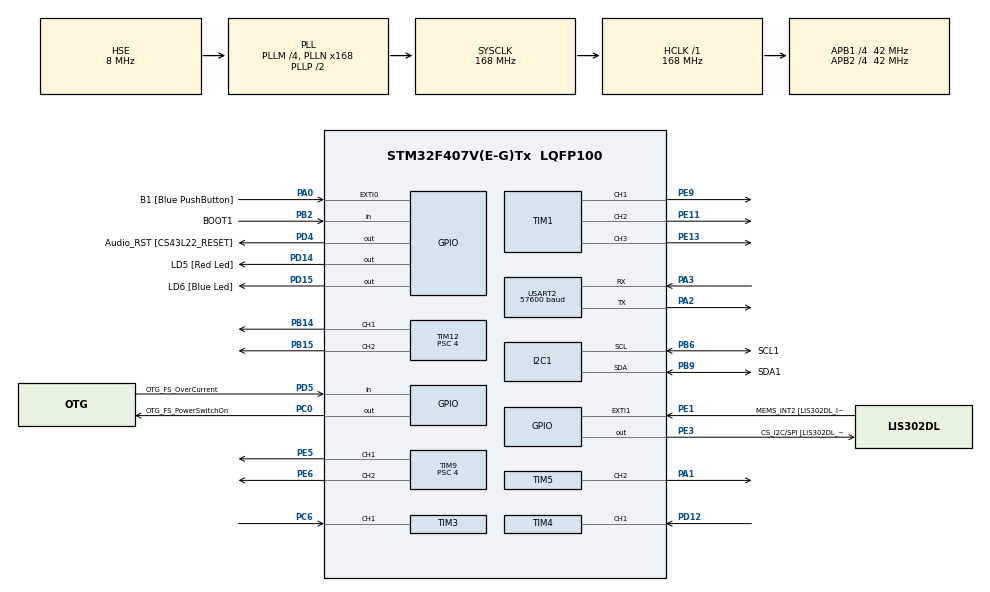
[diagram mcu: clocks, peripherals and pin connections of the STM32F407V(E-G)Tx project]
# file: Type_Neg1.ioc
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FREERTOS.Tasks01=defaultTask,0,128,StartDefaultTask
Mcu.Family=STM32F4
Mcu.Name=STM32F407V(E-G)Tx
Mcu.Package=LQFP100
NVIC.EXTI0_IRQn=true\:5\:0\:false
NVIC.I2C1_EV_IRQn=true\:5\:0\:false
NVIC.PriorityGroup=NVIC_PRIORITYGROUP_4
PA0-WKUP.GPIO_Label=B1 [Blue PushButton]
PA0-WKUP.GPIO_ModeDefaultEXTI=GPIO_MODE_IT_RISING
PA0-WKUP.GPIO_PuPd=GPIO_PULLDOWN
PA0-WKUP.Signal=GPXTI0
PA1.Signal=S_TIM5_CH2
PA10.GPIO_Label=OTG_FS_ID
PA10.GPIO_Mode=GPIO_MODE_AF_PP
PA10.GPIO_PuPd=GPIO_NOPULL
PA10.GPIO_Speed=GPIO_SPEED_LOW
PA10.Signal=USB_OTG_FS_ID
PA11.GPIO_Label=OTG_FS_DM
PA11.GPIO_Mode=GPIO_MODE_AF_PP
PA11.GPIO_PuPd=GPIO_NOPULL
PA11.GPIO_Speed=GPIO_SPEED_LOW
PA11.Signal=USB_OTG_FS_DM
PA12.GPIO_Label=OTG_FS_DP
PA12.GPIO_Mode=GPIO_MODE_AF_PP
PA12.GPIO_PuPd=GPIO_NOPULL
PA12.GPIO_Speed=GPIO_SPEED_LOW
PA12.Signal=USB_OTG_FS_DP
PA13.GPIO_Label=SWDIO
PA13.Mode=Trace-Asynchronous_SW
PA13.Signal=SYS_JTMS-SWDIO
PA14.GPIO_Label=SWCLK
PA14.Mode=Trace-Asynchronous_SW
PA14.Signal=SYS_JTCK-SWCLK
PA2.Mode=Asynchronous
PA2.Signal=USART2_TX
PA3.Mode=Asynchronous
PA3.Signal=USART2_RX
PA4.GPIO_Label=I2S3_WS [CS43L22_LRCK]
PA4.GPIO_Mode=GPIO_MODE_AF_PP
PA4.GPIO_PuPd=GPIO_NOPULL
PA4.GPIO_Speed=GPIO_SPEED_LOW
PA4.Signal=I2S3_WS
PA5.GPIO_Label=SPI1_SCK [LIS302DL_SCL/SPC]
PA5.GPIO_Mode=GPIO_MODE_AF_PP
PA5.GPIO_PuPd=GPIO_NOPULL
PA5.GPIO_Speed=GPIO_SPEED_LOW
PA5.Signal=SPI1_SCK
PA6.GPIO_Label=SPI1_MISO [LIS302DL_SDO]
PA6.GPIO_Mode=GPIO_MODE_AF_PP
PA6.GPIO_PuPd=GPIO_NOPULL
PA6.GPIO_Speed=GPIO_SPEED_LOW
PA6.Signal=SPI1_MISO
PA7.GPIO_Label=SPI1_MOSI [LIS302DL_SDA/SDI/SDO]
PA7.GPIO_Mode=GPIO_MODE_AF_PP
PA7.GPIO_PuPd=GPIO_NOPULL
PA7.GPIO_Speed=GPIO_SPEED_LOW
PA7.Signal=SPI1_MOSI
PA9.GPIO_Label=VBUS_FS
PA9.GPIO_Mode=GPIO_MODE_INPUT
PA9.GPIO_PuPd=GPIO_NOPULL
PA9.Signal=USB_OTG_FS_VBUS
PB10.GPIO_Label=CLK_IN [MP45DT02_CLK]
PB10.GPIO_Mode=GPIO_MODE_AF_PP
PB10.GPIO_PuPd=GPIO_NOPULL
PB10.GPIO_Speed=GPIO_SPEED_LOW
PB10.Signal=I2S2_CK
PB14.Signal=S_TIM12_CH1
PB15.Signal=S_TIM12_CH2
PB2.GPIO_Label=BOOT1
PB2.GPIO_Mode=GPIO_MODE_INPUT
PB2.GPIO_PuPd=GPIO_NOPULL
PB2.Signal=GPIO_Input
PB3.GPIO_Label=SWO
PB3.Mode=Trace-Asynchronous_SW
PB3.Signal=SYS_JTDO-SWO
PB6.GPIO_Label=SCL1
PB6.GPIO_Mode=GPIO_MODE_AF_OD
PB6.GPIO_PuPd=GPIO_NOPULL
PB6.GPIO_PuPdOD=GPIO_PULLUP
PB6.GPIO_Speed=GPIO_SPEED_FAST
PB6.Mode=I2C
PB6.Signal=I2C1_SCL
PB9.GPIO_Label=SDA1
PB9.GPIO_Mode=GPIO_MODE_AF_OD
PB9.GPIO_PuPd=GPIO_NOPULL
PB9.GPIO_PuPdOD=GPIO_PULLUP
PB9.GPIO_Speed=GPIO_SPEED_FAST
PB9.Mode=I2C
PB9.Signal=I2C1_SDA
PC0.GPIO_Label=OTG_FS_PowerSwitchOn
PC0.GPIO_PuPd=GPIO_NOPULL
PC0.GPIO_Speed=GPIO_SPEED_LOW
PC0.Signal=GPIO_Output
PC10.GPIO_Label=I2S3_SCK [CS43L22_SCLK]
PC10.GPIO_Mode=GPIO_MODE_AF_PP
PC10.GPIO_PuPd=GPIO_NOPULL
PC10.GPIO_Speed=GPIO_SPEED_LOW
PC10.Signal=I2S3_CK
PC12.GPIO_Label=I2S3_SD [CS43L22_SDIN]
PC12.GPIO_Mode=GPIO_MODE_AF_PP
PC12.GPIO_PuPd=GPIO_NOPULL
PC12.GPIO_Speed=GPIO_SPEED_LOW
PC12.Signal=I2S3_SD
PC14-OSC32_IN.GPIO_Label=PC14-OSC32_IN
PC14-OSC32_IN.Signal=RCC_OSC32_IN
PC15-OSC32_OUT.GPIO_Label=PC15-OSC32_OUT
PC15-OSC32_OUT.Signal=RCC_OSC32_OUT
PC3.GPIO_Label=PDM_OUT [MP45DT02_DOUT]
PC3.GPIO_Mode=GPIO_MODE_AF_PP
PC3.GPIO_PuPd=GPIO_NOPULL
PC3.GPIO_Speed=GPIO_SPEED_LOW
PC3.Signal=I2S2_SD
PC6.Signal=S_TIM3_CH1
PC7.GPIO_Label=I2S3_MCK [CS43L22_MCLK]
PC7.GPIO_Mode=GPIO_MODE_AF_PP
PC7.GPIO_PuPd=GPIO_NOPULL
PC7.GPIO_Speed=GPIO_SPEED_LOW
PC7.Signal=I2S3_MCK
PD12.Signal=S_TIM4_CH1
PD14.GPIO_Label=LD5 [Red Led]
PD14.GPIO_PuPd=GPIO_NOPULL
PD14.GPIO_Speed=GPIO_SPEED_LOW
PD14.Signal=GPIO_Output
PD15.GPIO_Label=LD6 [Blue Led]
PD15.GPIO_PuPd=GPIO_NOPULL
PD15.GPIO_Speed=GPIO_SPEED_LOW
PD15.Signal=GPIO_Output
PD4.GPIO_Label=Audio_RST [CS43L22_RESET]
PD4.GPIO_PuPd=GPIO_NOPULL
PD4.GPIO_Speed=GPIO_SPEED_LOW
PD4.Signal=GPIO_Output
PD5.GPIO_Label=OTG_FS_OverCurrent
PD5.GPIO_Mode=GPIO_MODE_INPUT
PD5.GPIO_PuPd=GPIO_NOPULL
PD5.Signal=GPIO_Input
PE1.GPIO_Label=MEMS_INT2 [LIS302DL_INT2]
PE1.GPIO_ModeDefaultEXTI=GPIO_MODE_EVT_RISING
PE1.GPIO_PuPd=GPIO_NOPULL
PE1.Signal=GPXTI1
PE11.Signal=S_TIM1_CH2
PE13.Signal=S_TIM1_CH3
PE3.GPIO_Label=CS_I2C/SPI [LIS302DL_CS_I2C/SPI]
PE3.GPIO_PuPd=GPIO_NOPULL
PE3.GPIO_Speed=GPIO_SPEED_LOW
PE3.Signal=GPIO_Output
PE5.Signal=S_TIM9_CH1
PE6.Signal=S_TIM9_CH2
PE9.Signal=S_TIM1_CH1
PH0-OSC_IN.GPIO_Label=PH0-OSC_IN
PH0-OSC_IN.Mode=HSE-External-Oscillator
PH0-OSC_IN.Signal=RCC_OSC_IN
PH1-OSC_OUT.GPIO_Label=PH1-OSC_OUT
PH1-OSC_OUT.Mode=HSE-External-Oscillator
PH1-OSC_OUT.Signal=RCC_OSC_OUT
ProjectManager.TargetToolchain=MDK-ARM V5
RCC.48MHZClocksFreq_Value=48000000
RCC.AHBFreq_Value=168000000
RCC.APB1CLKDivider=RCC_HCLK_DIV4
RCC.APB1Freq_Value=42000000
RCC.APB1TimFreq_Value=84000000
RCC.APB2CLKDivider=RCC_HCLK_DIV4
RCC.APB2Freq_Value=42000000
RCC.APB2TimFreq_Value=84000000
RCC.CortexFreq_Value=168000000
RCC.HCLKFreq_Value=168000000
RCC.HSE_VALUE=8000000
RCC.HSI_VALUE=16000000
RCC.LSE_VALUE=32768
RCC.PLLM=4
RCC.PLLN=168
RCC.PLLQ=7
RCC.PLLSourceVirtual=RCC_PLLSOURCE_HSE
RCC.SYSCLKFreq_VALUE=168000000
RCC.SYSCLKSource=RCC_SYSCLKSOURCE_PLLCLK
RCC.VCOOutputFreq_Value=336000000
SH.S_TIM12_CH1.0=TIM12_CH1,PWM Generation1 CH1
SH.S_TIM12_CH2.0=TIM12_CH2,PWM Generation2 CH2
SH.S_TIM1_CH1.0=TIM1_CH1,Output Compare1 CH1
SH.S_TIM1_CH2.0=TIM1_CH2,Output Compare2 CH2
SH.S_TIM1_CH3.0=TIM1_CH3,Output Compare3 CH3
SH.S_TIM3_CH1.0=TIM3_CH1,TriggerSource_TI1ED
SH.S_TIM4_CH1.0=TIM4_CH1,TriggerSource_TI1ED
SH.S_TIM5_CH2.0=TIM5_CH2,PWM Generation2 CH2
SH.S_TIM9_CH1.0=TIM9_CH1,PWM Generation1 CH1
SH.S_TIM9_CH2.0=TIM9_CH2,PWM Generation2 CH2
TIM1.Channel-Output\ Compare2\ CH2=TIM_CHANNEL_2
TIM1.Channel-Output\ Compare3\ CH3=TIM_CHANNEL_3
TIM12.Channel-PWM\ Generation2\ CH2=TIM_CHANNEL_2
TIM12.Period=1000
TIM12.Prescaler=4
TIM12.Pulse-PWM\ Generation1\ CH1=500
TIM12.Pulse-PWM\ Generation2\ CH2=500
TIM5.Channel-PWM\ Generation2\ CH2=TIM_CHANNEL_2
TIM9.Channel-PWM\ Generation2\ CH2=TIM_CHANNEL_2
TIM9.Period=1000
TIM9.Prescaler=4
TIM9.Pulse-PWM\ Generation1\ CH1=500
TIM9.Pulse-PWM\ Generation2\ CH2=500
USART2.BaudRate=57600
VP_FREERTOS_VS_ENABLE.Mode=Enabled
VP_TIM3_VS_ControllerModeClock.Mode=Clock Mode
VP_TIM4_VS_ControllerModeClock.Mode=Clock Mode
VP_TIM9_VS_ClockSourceINT.Mode=Internal
board=STM32F4DISCOVERY

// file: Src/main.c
/**
  ******************************************************************************
  * File Name          : main.c
  * Description        : Main program body
  ******************************************************************************
  *
  * COPYRIGHT(c) 2016 STMicroelectronics
  *
  * Redistribution and use in source and binary forms, with or without modification,
  * are permitted provided that the following conditions are met:
  *   1. Redistributions of source code must retain the above copyright notice,
  *      this list of conditions and the following disclaimer.
  *   2. Redistributions in binary form must reproduce the above copyright notice,
  *      this list of conditions and the following disclaimer in the documentation
  *      and/or other materials provided with the distribution.
  *   3. Neither the name of STMicroelectronics nor the names of its contributors
  *      may be used to endorse or promote products derived from this software
  *      without specific prior written permission.
  *
  * THIS SOFTWARE IS PROVIDED BY THE COPYRIGHT HOLDERS AND CONTRIBUTORS "AS IS"
  * AND ANY EXPRESS OR IMPLIED WARRANTIES, INCLUDING, BUT NOT LIMITED TO, THE
  * IMPLIED WARRANTIES OF MERCHANTABILITY AND FITNESS FOR A PARTICULAR PURPOSE ARE
  * DISCLAIMED. IN NO EVENT SHALL THE COPYRIGHT HOLDER OR CONTRIBUTORS BE LIABLE
  * FOR ANY DIRECT, INDIRECT, INCIDENTAL, SPECIAL, EXEMPLARY, OR CONSEQUENTIAL
  * DAMAGES (INCLUDING, BUT NOT LIMITED TO, PROCUREMENT OF SUBSTITUTE GOODS OR
  * SERVICES; LOSS OF USE, DATA, OR PROFITS; OR BUSINESS INTERRUPTION) HOWEVER
  * CAUSED AND ON ANY THEORY OF LIABILITY, WHETHER IN CONTRACT, STRICT LIABILITY,
  * OR TORT (INCLUDING NEGLIGENCE OR OTHERWISE) ARISING IN ANY WAY OUT OF THE USE
  * OF THIS SOFTWARE, EVEN IF ADVISED OF THE POSSIBILITY OF SUCH DAMAGE.
  *
  ******************************************************************************
  */
#include "stm32f4xx_hal.h"
#include "cmsis_os.h"

/* USER CODE BEGIN Includes */
#include "motor_cmd.h"
#include "IMU.h"
#include "ipc_struct.h"
/* USER CODE END Includes */

I2C_HandleTypeDef hi2c1;

TIM_HandleTypeDef htim1;
TIM_HandleTypeDef htim3;
TIM_HandleTypeDef htim4;
TIM_HandleTypeDef htim5;
TIM_HandleTypeDef htim9;
TIM_HandleTypeDef htim12;

UART_HandleTypeDef huart2;

osThreadId defaultTaskHandle;

/* USER CODE BEGIN PV */
/* Private variables ---------------------------------------------------------*/
xQueueHandle msg_speed;
xQueueHandle msg_motor_DEBUG;
SemaphoreHandle_t xBTNSemaphore = NULL;
/* USER CODE END PV */

void SystemClock_Config(void);
static void MX_GPIO_Init(void);
static void MX_I2C1_Init(void);
static void MX_TIM1_Init(void);
static void MX_TIM3_Init(void);
static void MX_TIM4_Init(void);
static void MX_TIM5_Init(void);
static void MX_TIM9_Init(void);
static void MX_TIM12_Init(void);
static void MX_USART2_UART_Init(void);
void StartDefaultTask(void const * argument);

/* USER CODE BEGIN PFP */
/* Private function prototypes -----------------------------------------------*/
void vUARTTest(void *pvParameters);
void vBTNTask(void *pvParameters);
/* USER CODE END PFP */

int main(void)
{

  /* MCU Configuration----------------------------------------------------------*/

  /* Reset of all peripherals, Initializes the Flash interface and the Systick. */
  HAL_Init();

  /* Configure the system clock */
  SystemClock_Config();

  /* Initialize all configured peripherals */
  MX_GPIO_Init();
  MX_I2C1_Init();
  MX_TIM1_Init();
  MX_TIM3_Init();
  MX_TIM4_Init();
  MX_TIM5_Init();
  MX_TIM9_Init();
  MX_TIM12_Init();
  MX_USART2_UART_Init();

  /* USER CODE BEGIN RTOS_SEMAPHORES */
  /* add semaphores, ... */
	vSemaphoreCreateBinary(xBTNSemaphore);
  /* USER CODE END RTOS_SEMAPHORES */

  /* Create the thread(s) */
  /* definition and creation of defaultTask */
  osThreadDef(defaultTask, StartDefaultTask, osPriorityNormal, 0, 128);
  defaultTaskHandle = osThreadCreate(osThread(defaultTask), NULL);

  /* USER CODE BEGIN RTOS_THREADS */
  /* add threads, ... */
  vStartMotorCMDTask(0);
  //vStartIMUTask(0);
  xTaskCreate( vUARTTest, "UART_TEST", configMINIMAL_STACK_SIZE, NULL, 0, ( TaskHandle_t * ) NULL );
	xTaskCreate( vBTNTask, "BTN_TASK", configMINIMAL_STACK_SIZE, NULL, 0, ( TaskHandle_t * ) NULL );
  /* USER CODE END RTOS_THREADS */

  /* USER CODE BEGIN RTOS_QUEUES */
  /* add queues, ... */
  msg_speed = xQueueCreate(3, sizeof(Vehicle_vector_t));
	msg_motor_DEBUG = xQueueCreate(3, sizeof(uint8_t));
  /* USER CODE END RTOS_QUEUES */

  /* Start scheduler */
  osKernelStart();

  /* We should never get here as control is now taken by the scheduler */

  /* Infinite loop */
  while (1)
  {

  /* USER CODE BEGIN 3 */
	HAL_I2C_Master_Transmit(&hi2c1, 0x28,(uint8_t*)0x11, 1, 100/portTICK_PERIOD_MS);
  }
  /* USER CODE END 3 */

}

/** System Clock Configuration
*/
void SystemClock_Config(void)
{

  RCC_OscInitTypeDef RCC_OscInitStruct;
  RCC_ClkInitTypeDef RCC_ClkInitStruct;

  __PWR_CLK_ENABLE();

  __HAL_PWR_VOLTAGESCALING_CONFIG(PWR_REGULATOR_VOLTAGE_SCALE1);

  RCC_OscInitStruct.OscillatorType = RCC_OSCILLATORTYPE_HSE;
  RCC_OscInitStruct.HSEState = RCC_HSE_ON;
  RCC_OscInitStruct.PLL.PLLState = RCC_PLL_ON;
  RCC_OscInitStruct.PLL.PLLSource = RCC_PLLSOURCE_HSE;
  RCC_OscInitStruct.PLL.PLLM = 4;
  RCC_OscInitStruct.PLL.PLLN = 168;
  RCC_OscInitStruct.PLL.PLLP = RCC_PLLP_DIV2;
  RCC_OscInitStruct.PLL.PLLQ = 7;
  HAL_RCC_OscConfig(&RCC_OscInitStruct);

  RCC_ClkInitStruct.ClockType = RCC_CLOCKTYPE_SYSCLK|RCC_CLOCKTYPE_PCLK1
                              |RCC_CLOCKTYPE_PCLK2;
  RCC_ClkInitStruct.SYSCLKSource = RCC_SYSCLKSOURCE_PLLCLK;
  RCC_ClkInitStruct.AHBCLKDivider = RCC_SYSCLK_DIV1;
  RCC_ClkInitStruct.APB1CLKDivider = RCC_HCLK_DIV4;
  RCC_ClkInitStruct.APB2CLKDivider = RCC_HCLK_DIV4;
  HAL_RCC_ClockConfig(&RCC_ClkInitStruct, FLASH_LATENCY_5);

  HAL_SYSTICK_Config(HAL_RCC_GetHCLKFreq()/1000);

  HAL_SYSTICK_CLKSourceConfig(SYSTICK_CLKSOURCE_HCLK);

  /* SysTick_IRQn interrupt configuration */
  HAL_NVIC_SetPriority(SysTick_IRQn, 15, 0);
}

/* I2C1 init function */
void MX_I2C1_Init(void)
{

  hi2c1.Instance = I2C1;
  hi2c1.Init.ClockSpeed = 100000;
  hi2c1.Init.DutyCycle = I2C_DUTYCYCLE_2;
  hi2c1.Init.OwnAddress1 = 0;
  hi2c1.Init.AddressingMode = I2C_ADDRESSINGMODE_7BIT;
  hi2c1.Init.DualAddressMode = I2C_DUALADDRESS_DISABLED;
  hi2c1.Init.OwnAddress2 = 0;
  hi2c1.Init.GeneralCallMode = I2C_GENERALCALL_DISABLED;
  hi2c1.Init.NoStretchMode = I2C_NOSTRETCH_DISABLED;
  HAL_I2C_Init(&hi2c1);

}

/* TIM1 init function */
void MX_TIM1_Init(void)
{

  TIM_MasterConfigTypeDef sMasterConfig;
  TIM_BreakDeadTimeConfigTypeDef sBreakDeadTimeConfig;
  TIM_OC_InitTypeDef sConfigOC;

  htim1.Instance = TIM1;
  htim1.Init.Prescaler = 0;
  htim1.Init.CounterMode = TIM_COUNTERMODE_UP;
  htim1.Init.Period = 0;
  htim1.Init.ClockDivision = TIM_CLOCKDIVISION_DIV1;
  htim1.Init.RepetitionCounter = 0;
  HAL_TIM_OC_Init(&htim1);

  sMasterConfig.MasterOutputTrigger = TIM_TRGO_RESET;
  sMasterConfig.MasterSlaveMode = TIM_MASTERSLAVEMODE_DISABLE;
  HAL_TIMEx_MasterConfigSynchronization(&htim1, &sMasterConfig);

  sBreakDeadTimeConfig.OffStateRunMode = TIM_OSSR_DISABLE;
  sBreakDeadTimeConfig.OffStateIDLEMode = TIM_OSSI_DISABLE;
  sBreakDeadTimeConfig.LockLevel = TIM_LOCKLEVEL_OFF;
  sBreakDeadTimeConfig.DeadTime = 0;
  sBreakDeadTimeConfig.BreakState = TIM_BREAK_DISABLE;
  sBreakDeadTimeConfig.BreakPolarity = TIM_BREAKPOLARITY_HIGH;
  sBreakDeadTimeConfig.AutomaticOutput = TIM_AUTOMATICOUTPUT_DISABLE;
  HAL_TIMEx_ConfigBreakDeadTime(&htim1, &sBreakDeadTimeConfig);

  sConfigOC.OCMode = TIM_OCMODE_TIMING;
  sConfigOC.Pulse = 0;
  sConfigOC.OCPolarity = TIM_OCPOLARITY_HIGH;
  sConfigOC.OCNPolarity = TIM_OCNPOLARITY_HIGH;
  sConfigOC.OCFastMode = TIM_OCFAST_DISABLE;
  sConfigOC.OCIdleState = TIM_OCIDLESTATE_RESET;
  sConfigOC.OCNIdleState = TIM_OCNIDLESTATE_RESET;
  HAL_TIM_OC_ConfigChannel(&htim1, &sConfigOC, TIM_CHANNEL_1);

  HAL_TIM_OC_ConfigChannel(&htim1, &sConfigOC, TIM_CHANNEL_2);

  HAL_TIM_OC_ConfigChannel(&htim1, &sConfigOC, TIM_CHANNEL_3);

}

/* TIM3 init function */
void MX_TIM3_Init(void)
{

  TIM_SlaveConfigTypeDef sSlaveConfig;
  TIM_MasterConfigTypeDef sMasterConfig;

  htim3.Instance = TIM3;
  htim3.Init.Prescaler = 0;
  htim3.Init.CounterMode = TIM_COUNTERMODE_UP;
  htim3.Init.Period = 0;
  htim3.Init.ClockDivision = TIM_CLOCKDIVISION_DIV1;
  HAL_TIM_Base_Init(&htim3);

  sSlaveConfig.SlaveMode = TIM_SLAVEMODE_EXTERNAL1;
  sSlaveConfig.InputTrigger = TIM_TS_TI1F_ED;
  sSlaveConfig.TriggerFilter = 0;
  HAL_TIM_SlaveConfigSynchronization(&htim3, &sSlaveConfig);

  sMasterConfig.MasterOutputTrigger = TIM_TRGO_RESET;
  sMasterConfig.MasterSlaveMode = TIM_MASTERSLAVEMODE_DISABLE;
  HAL_TIMEx_MasterConfigSynchronization(&htim3, &sMasterConfig);

}

/* TIM4 init function */
void MX_TIM4_Init(void)
{

  TIM_SlaveConfigTypeDef sSlaveConfig;
  TIM_MasterConfigTypeDef sMasterConfig;

  htim4.Instance = TIM4;
  htim4.Init.Prescaler = 0;
  htim4.Init.CounterMode = TIM_COUNTERMODE_UP;
  htim4.Init.Period = 0;
  htim4.Init.ClockDivision = TIM_CLOCKDIVISION_DIV1;
  HAL_TIM_Base_Init(&htim4);

  sSlaveConfig.SlaveMode = TIM_SLAVEMODE_EXTERNAL1;
  sSlaveConfig.InputTrigger = TIM_TS_TI1F_ED;
  sSlaveConfig.TriggerFilter = 0;
  HAL_TIM_SlaveConfigSynchronization(&htim4, &sSlaveConfig);

  sMasterConfig.MasterOutputTrigger = TIM_TRGO_RESET;
  sMasterConfig.MasterSlaveMode = TIM_MASTERSLAVEMODE_DISABLE;
  HAL_TIMEx_MasterConfigSynchronization(&htim4, &sMasterConfig);

}

/* TIM5 init function */
void MX_TIM5_Init(void)
{

  TIM_MasterConfigTypeDef sMasterConfig;
  TIM_OC_InitTypeDef sConfigOC;

  htim5.Instance = TIM5;
  htim5.Init.Prescaler = 0;
  htim5.Init.CounterMode = TIM_COUNTERMODE_UP;
  htim5.Init.Period = 0;
  htim5.Init.ClockDivision = TIM_CLOCKDIVISION_DIV1;
  HAL_TIM_PWM_Init(&htim5);

  sMasterConfig.MasterOutputTrigger = TIM_TRGO_RESET;
  sMasterConfig.MasterSlaveMode = TIM_MASTERSLAVEMODE_DISABLE;
  HAL_TIMEx_MasterConfigSynchronization(&htim5, &sMasterConfig);

  sConfigOC.OCMode = TIM_OCMODE_PWM1;
  sConfigOC.Pulse = 0;
  sConfigOC.OCPolarity = TIM_OCPOLARITY_HIGH;
  sConfigOC.OCFastMode = TIM_OCFAST_DISABLE;
  HAL_TIM_PWM_ConfigChannel(&htim5, &sConfigOC, TIM_CHANNEL_2);

}

/* TIM9 init function */
void MX_TIM9_Init(void)
{

  TIM_ClockConfigTypeDef sClockSourceConfig;
  TIM_OC_InitTypeDef sConfigOC;

  htim9.Instance = TIM9;
  htim9.Init.Prescaler = 4;
  htim9.Init.CounterMode = TIM_COUNTERMODE_UP;
  htim9.Init.Period = 1000;
  htim9.Init.ClockDivision = TIM_CLOCKDIVISION_DIV1;
  HAL_TIM_Base_Init(&htim9);

  sClockSourceConfig.ClockSource = TIM_CLOCKSOURCE_INTERNAL;
  HAL_TIM_ConfigClockSource(&htim9, &sClockSourceConfig);

  HAL_TIM_PWM_Init(&htim9);

  sConfigOC.OCMode = TIM_OCMODE_PWM1;
  sConfigOC.Pulse = 500;
  sConfigOC.OCPolarity = TIM_OCPOLARITY_HIGH;
  sConfigOC.OCFastMode = TIM_OCFAST_DISABLE;
  HAL_TIM_PWM_ConfigChannel(&htim9, &sConfigOC, TIM_CHANNEL_1);

  HAL_TIM_PWM_ConfigChannel(&htim9, &sConfigOC, TIM_CHANNEL_2);

}

/* TIM12 init function */
void MX_TIM12_Init(void)
{

  TIM_OC_InitTypeDef sConfigOC;

  htim12.Instance = TIM12;
  htim12.Init.Prescaler = 4;
  htim12.Init.CounterMode = TIM_COUNTERMODE_UP;
  htim12.Init.Period = 1000;
  htim12.Init.ClockDivision = TIM_CLOCKDIVISION_DIV1;
  HAL_TIM_PWM_Init(&htim12);

  sConfigOC.OCMode = TIM_OCMODE_PWM1;
  sConfigOC.Pulse = 500;
  sConfigOC.OCPolarity = TIM_OCPOLARITY_HIGH;
  sConfigOC.OCFastMode = TIM_OCFAST_DISABLE;
  HAL_TIM_PWM_ConfigChannel(&htim12, &sConfigOC, TIM_CHANNEL_1);

  HAL_TIM_PWM_ConfigChannel(&htim12, &sConfigOC, TIM_CHANNEL_2);

}

/* USART2 init function */
void MX_USART2_UART_Init(void)
{

  huart2.Instance = USART2;
  huart2.Init.BaudRate = 57600;
  huart2.Init.WordLength = UART_WORDLENGTH_8B;
  huart2.Init.StopBits = UART_STOPBITS_1;
  huart2.Init.Parity = UART_PARITY_NONE;
  huart2.Init.Mode = UART_MODE_TX_RX;
  huart2.Init.HwFlowCtl = UART_HWCONTROL_NONE;
  huart2.Init.OverSampling = UART_OVERSAMPLING_16;
  HAL_UART_Init(&huart2);

}

/** Configure pins as
        * Analog
        * Input
        * Output
        * EVENT_OUT
        * EXTI
     PC3   ------> I2S2_SD
     PA4   ------> I2S3_WS
     PA5   ------> SPI1_SCK
     PA6   ------> SPI1_MISO
     PA7   ------> SPI1_MOSI
     PB10   ------> I2S2_CK
     PC7   ------> I2S3_MCK
     PA9   ------> USB_OTG_FS_VBUS
     PA10   ------> USB_OTG_FS_ID
     PA11   ------> USB_OTG_FS_DM
     PA12   ------> USB_OTG_FS_DP
     PC10   ------> I2S3_CK
     PC12   ------> I2S3_SD
*/
void MX_GPIO_Init(void)
{

  GPIO_InitTypeDef GPIO_InitStruct;

  /* GPIO Ports Clock Enable */
  __GPIOE_CLK_ENABLE();
  __GPIOC_CLK_ENABLE();
  __GPIOH_CLK_ENABLE();
  __GPIOA_CLK_ENABLE();
  __GPIOB_CLK_ENABLE();
  __GPIOD_CLK_ENABLE();

  /*Configure GPIO pin : CS_I2C_SPI_Pin */
  GPIO_InitStruct.Pin = CS_I2C_SPI_Pin;
  GPIO_InitStruct.Mode = GPIO_MODE_OUTPUT_PP;
  GPIO_InitStruct.Pull = GPIO_NOPULL;
  GPIO_InitStruct.Speed = GPIO_SPEED_LOW;
  HAL_GPIO_Init(CS_I2C_SPI_GPIO_Port, &GPIO_InitStruct);

  /*Configure GPIO pin : OTG_FS_PowerSwitchOn_Pin */
  GPIO_InitStruct.Pin = OTG_FS_PowerSwitchOn_Pin;
  GPIO_InitStruct.Mode = GPIO_MODE_OUTPUT_PP;
  GPIO_InitStruct.Pull = GPIO_NOPULL;
  GPIO_InitStruct.Speed = GPIO_SPEED_LOW;
  HAL_GPIO_Init(OTG_FS_PowerSwitchOn_GPIO_Port, &GPIO_InitStruct);

  /*Configure GPIO pin : PDM_OUT_Pin */
  GPIO_InitStruct.Pin = PDM_OUT_Pin;
  GPIO_InitStruct.Mode = GPIO_MODE_AF_PP;
  GPIO_InitStruct.Pull = GPIO_NOPULL;
  GPIO_InitStruct.Speed = GPIO_SPEED_LOW;
  GPIO_InitStruct.Alternate = GPIO_AF5_SPI2;
  HAL_GPIO_Init(PDM_OUT_GPIO_Port, &GPIO_InitStruct);

  /*Configure GPIO pin : B1_Pin */
  GPIO_InitStruct.Pin = B1_Pin;
  GPIO_InitStruct.Mode = GPIO_MODE_IT_RISING;
  GPIO_InitStruct.Pull = GPIO_PULLDOWN;
  HAL_GPIO_Init(B1_GPIO_Port, &GPIO_InitStruct);

  /*Configure GPIO pin : PA4 */
  GPIO_InitStruct.Pin = GPIO_PIN_4;
  GPIO_InitStruct.Mode = GPIO_MODE_AF_PP;
  GPIO_InitStruct.Pull = GPIO_NOPULL;
  GPIO_InitStruct.Speed = GPIO_SPEED_LOW;
  GPIO_InitStruct.Alternate = GPIO_AF6_SPI3;
  HAL_GPIO_Init(GPIOA, &GPIO_InitStruct);

  /*Configure GPIO pins : PA5 PA6 PA7 */
  GPIO_InitStruct.Pin = GPIO_PIN_5|GPIO_PIN_6|GPIO_PIN_7;
  GPIO_InitStruct.Mode = GPIO_MODE_AF_PP;
  GPIO_InitStruct.Pull = GPIO_NOPULL;
  GPIO_InitStruct.Speed = GPIO_SPEED_LOW;
  GPIO_InitStruct.Alternate = GPIO_AF5_SPI1;
  HAL_GPIO_Init(GPIOA, &GPIO_InitStruct);

  /*Configure GPIO pin : BOOT1_Pin */
  GPIO_InitStruct.Pin = BOOT1_Pin;
  GPIO_InitStruct.Mode = GPIO_MODE_INPUT;
  GPIO_InitStruct.Pull = GPIO_NOPULL;
  HAL_GPIO_Init(BOOT1_GPIO_Port, &GPIO_InitStruct);

  /*Configure GPIO pin : CLK_IN_Pin */
  GPIO_InitStruct.Pin = CLK_IN_Pin;
  GPIO_InitStruct.Mode = GPIO_MODE_AF_PP;
  GPIO_InitStruct.Pull = GPIO_NOPULL;
  GPIO_InitStruct.Speed = GPIO_SPEED_LOW;
  GPIO_InitStruct.Alternate = GPIO_AF5_SPI2;
  HAL_GPIO_Init(CLK_IN_GPIO_Port, &GPIO_InitStruct);

  /*Configure GPIO pins : LD5_Pin LD6_Pin Audio_RST_Pin */
  GPIO_InitStruct.Pin = LD5_Pin|LD6_Pin|Audio_RST_Pin;
  GPIO_InitStruct.Mode = GPIO_MODE_OUTPUT_PP;
  GPIO_InitStruct.Pull = GPIO_NOPULL;
  GPIO_InitStruct.Speed = GPIO_SPEED_LOW;
  HAL_GPIO_Init(GPIOD, &GPIO_InitStruct);

  /*Configure GPIO pins : PC7 I2S3_SCK_Pin PC12 */
  GPIO_InitStruct.Pin = GPIO_PIN_7|I2S3_SCK_Pin|GPIO_PIN_12;
  GPIO_InitStruct.Mode = GPIO_MODE_AF_PP;
  GPIO_InitStruct.Pull = GPIO_NOPULL;
  GPIO_InitStruct.Speed = GPIO_SPEED_LOW;
  GPIO_InitStruct.Alternate = GPIO_AF6_SPI3;
  HAL_GPIO_Init(GPIOC, &GPIO_InitStruct);

  /*Configure GPIO pin : VBUS_FS_Pin */
  GPIO_InitStruct.Pin = VBUS_FS_Pin;
  GPIO_InitStruct.Mode = GPIO_MODE_INPUT;
  GPIO_InitStruct.Pull = GPIO_NOPULL;
  HAL_GPIO_Init(VBUS_FS_GPIO_Port, &GPIO_InitStruct);

  /*Configure GPIO pins : OTG_FS_ID_Pin OTG_FS_DM_Pin OTG_FS_DP_Pin */
  GPIO_InitStruct.Pin = OTG_FS_ID_Pin|OTG_FS_DM_Pin|OTG_FS_DP_Pin;
  GPIO_InitStruct.Mode = GPIO_MODE_AF_PP;
  GPIO_InitStruct.Pull = GPIO_NOPULL;
  GPIO_InitStruct.Speed = GPIO_SPEED_LOW;
  GPIO_InitStruct.Alternate = GPIO_AF10_OTG_FS;
  HAL_GPIO_Init(GPIOA, &GPIO_InitStruct);

  /*Configure GPIO pin : OTG_FS_OverCurrent_Pin */
  GPIO_InitStruct.Pin = OTG_FS_OverCurrent_Pin;
  GPIO_InitStruct.Mode = GPIO_MODE_INPUT;
  GPIO_InitStruct.Pull = GPIO_NOPULL;
  HAL_GPIO_Init(OTG_FS_OverCurrent_GPIO_Port, &GPIO_InitStruct);

  /*Configure GPIO pin : MEMS_INT2_Pin */
  GPIO_InitStruct.Pin = MEMS_INT2_Pin;
  GPIO_InitStruct.Mode = GPIO_MODE_EVT_RISING;
  GPIO_InitStruct.Pull = GPIO_NOPULL;
  HAL_GPIO_Init(MEMS_INT2_GPIO_Port, &GPIO_InitStruct);

  /* EXTI interrupt init*/
  HAL_NVIC_SetPriority(EXTI0_IRQn, 5, 0);
  HAL_NVIC_EnableIRQ(EXTI0_IRQn);

}

/* USER CODE BEGIN 4 */
void vUARTTest(void *pvParameters){
    char words[16]="Helloworld\n";
    for(;;){
        HAL_UART_Transmit(&huart2, (uint8_t*)words, 11, 1/portTICK_PERIOD_MS);
        HAL_GPIO_TogglePin(GPIOD, GPIO_PIN_13);
        vTaskDelay(1000/portTICK_PERIOD_MS);
    }

}

void vBTNTask(void *pvParameters){
	configASSERT( xBTNSemaphore);
	xSemaphoreTake( xBTNSemaphore, 0 );
	for(;;){
		xSemaphoreTake( xBTNSemaphore, portMAX_DELAY );
		uint16_t value = 1;
		xQueueSendToBack(msg_motor_DEBUG, &value, 0);
		HAL_GPIO_TogglePin(GPIOD, GPIO_PIN_15);
	}
	return;
}
/* USER CODE END 4 */

/* StartDefaultTask function */
void StartDefaultTask(void const * argument)
{

  for(;;)
  {
    osDelay(1);
  }
}

/************************ (C) COPYRIGHT STMicroelectronics *****END OF FILE****/
